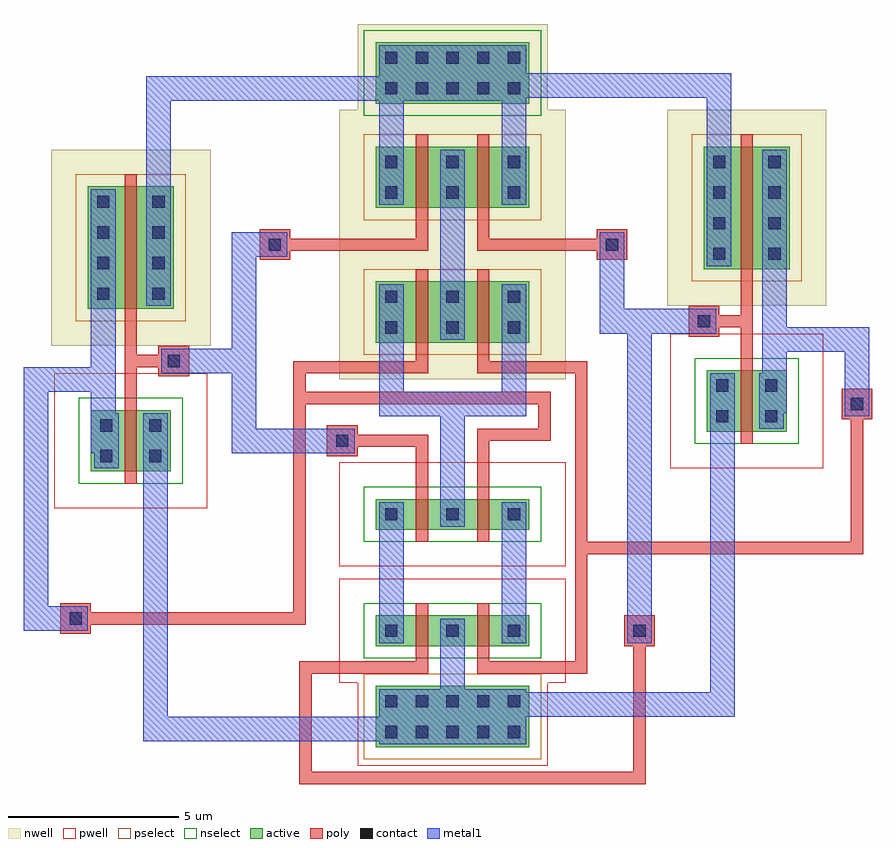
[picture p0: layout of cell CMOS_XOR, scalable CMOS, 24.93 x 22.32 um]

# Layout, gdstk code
from math import pi, radians
import gdstk
lib = gdstk.Library(unit=1e-6, precision=1e-09)
def R(c, l, rs):  # rectangles x0, y0, x1, y1
    for r in rs: c.add(gdstk.rectangle(r[:2], r[2:], *l))
def A(c, l, x, y, w, h, nx, ny, dx, dy):  # array of equal rectangles
    R(c, l, [(x+i*dx, y+j*dy, x+i*dx+w, y+j*dy+h) for i in range(nx) for j in range(ny)])
contact = (25, 0)
pwell = (41, 0)
nwell = (42, 0)
active = (43, 0)
pselect = (44, 0)
nselect = (45, 0)
poly = (46, 0)
metal1 = (49, 0)

inv = lib.new_cell('Inv')
A(inv, contact, -0.99, 0.36, 0.36, 0.36, 1, 4, 0, 0.9)
A(inv, contact, 0.63, 0.36, 0.36, 0.36, 1, 4, 0, 0.9)
R(inv, contact, [(-0.9,-4.41,-0.54,-4.05), (0.54,-4.41,0.9,-4.05), (-0.9,-3.51,-0.54,-3.15), (0.54,-3.51,0.9,-3.15), (-1.44,-1.62,-1.08,-1.26)])
R(inv, pwell, [(-2.25,-5.76,0.81,-1.8), (-1.8,-5.76,1.8,-1.8), (-0.81,-5.76,2.25,-1.8), (-2.07,-5.13,0.675,-2.43), (-0.72,-5.13,2.025,-2.43)])
R(inv, nwell, [(-2.34,-0.99,0.72,4.77), (-1.8,-0.99,1.8,4.77), (-0.72,-0.99,2.34,4.77), (-2.16,0.54,0.675,3.24), (-0.675,0.54,2.07,3.24)])
R(inv, active, [(-1.17,-4.68,-0.27,-2.88), (-0.72,-4.68,0.72,-2.88), (0.27,-4.68,1.17,-2.88), (-0.99,-4.05,-0.405,-3.51), (0.36,-4.05,0.945,-3.51), (-1.26,0.09,-0.36,3.69), (-0.72,0.09,0.72,3.69), (0.36,0.09,1.26,3.69), (-1.08,1.62,-0.405,2.16), (0.405,1.62,0.99,2.16)])
R(inv, pselect, [(-1.62,-0.27,0,4.05), (-1.08,-0.27,1.08,4.05), (0,-0.27,1.62,4.05), (-1.44,1.26,-0.045,2.52), (0.045,1.26,1.35,2.52)])
R(inv, nselect, [(-1.53,-5.04,0.09,-2.52), (-1.08,-5.04,1.08,-2.52), (-0.09,-5.04,1.53,-2.52), (-1.35,-4.41,-0.045,-3.15), (0,-4.41,1.305,-3.15)])
R(inv, poly, [(-0.18,-5.04,0.18,-2.52), (-0.18,-2.7,0.18,-1.26), (-1.71,-1.89,-0.81,-0.99), (-1.53,-1.62,0.18,-1.26), (-0.18,-1.62,0.18,-0.09), (-0.18,-0.27,0.18,4.05)])
R(inv, metal1, [(-1.08,-6.93,-0.36,-3.42), (-1.08,-4.59,-0.36,-2.97), (0.36,-4.59,1.08,-2.97), (0.36,-4.14,1.17,-3.42), (0.45,-4.14,1.17,-1.62), (0.45,-2.34,1.17,2.61), (0.45,-2.34,1.8,-1.62), (-1.8,-1.8,-0.9,-1.08), (-1.62,-1.8,-0.9,-1.08), (-1.17,0.18,-0.45,3.6), (0.45,0.18,1.17,3.6), (-1.17,1.53,-0.45,5.85)])

cmos_xor = lib.new_cell('CMOS_XOR')
A(cmos_xor, contact, -6.12, -9.81, 0.36, 0.36, 5, 2, 0.9, 0.9)
A(cmos_xor, contact, -6.12, -6.84, 0.36, 0.36, 3, 2, 1.8, 3.42)
A(cmos_xor, contact, -6.12, 2.07, 0.36, 0.36, 3, 2, 1.8, 0.9)
A(cmos_xor, contact, -6.12, 6.03, 0.36, 0.36, 3, 2, 1.8, 0.9)
A(cmos_xor, contact, -6.12, 9.09, 0.36, 0.36, 5, 2, 0.9, 0.9)
R(cmos_xor, contact, [(1.17,-6.84,1.53,-6.48), (-15.39,-6.48,-15.03,-6.12), (-7.56,-1.26,-7.2,-0.9), (7.56,-0.18,7.92,0.18), (-9.54,4.5,-9.18,4.86), (0.36,4.5,0.72,4.86)])
A(cmos_xor, pwell, -7.47, -8.19, 3.06, 3.06, 3, 2, 1.8, 3.42)
R(cmos_xor, pwell, [(-6.93,-10.62,-1.35,-7.74), (-6.84,-8.19,-3.24,-5.13), (-5.04,-8.19,-1.44,-5.13), (-7.29,-8.01,-4.365,-5.31), (-5.715,-8.01,-2.79,-5.31), (-5.49,-8.01,-2.565,-5.31), (-3.915,-8.01,-0.99,-5.31), (-6.84,-4.77,-3.24,-1.71), (-5.04,-4.77,-1.44,-1.71), (-7.29,-4.59,-4.365,-1.89), (-5.715,-4.59,-2.79,-1.89), (-5.49,-4.59,-2.565,-1.89), (-3.915,-4.59,-0.99,-1.89)])
A(cmos_xor, nwell, -7.47, 0.72, 3.06, 3.96, 3, 2, 1.8, 3.96)
R(cmos_xor, nwell, [(-6.84,0.72,-3.24,4.68), (-5.04,0.72,-1.44,4.68), (-7.29,1.35,-4.365,4.05), (-5.715,1.35,-2.79,4.05), (-5.49,1.35,-2.565,4.05), (-3.915,1.35,-0.99,4.05), (-6.84,4.68,-3.24,8.64), (-5.04,4.68,-1.44,8.64), (-7.29,5.31,-4.365,8.01), (-5.715,5.31,-2.79,8.01), (-5.49,5.31,-2.565,8.01), (-3.915,5.31,-0.99,8.01), (-6.93,8.28,-1.35,11.16)])
A(cmos_xor, active, -6.39, -7.11, 0.9, 0.9, 3, 2, 1.8, 3.42)
A(cmos_xor, active, -6.39, 1.8, 0.9, 1.8, 3, 2, 1.8, 3.96)
R(cmos_xor, active, [(-6.39,-10.08,-1.89,-8.28), (-5.76,-7.11,-4.32,-6.21), (-3.96,-7.11,-2.52,-6.21), (-6.21,-6.93,-5.445,-6.39), (-4.635,-6.93,-3.87,-6.39), (-4.41,-6.93,-3.645,-6.39), (-2.835,-6.93,-2.07,-6.39), (-5.76,-3.69,-4.32,-2.79), (-3.96,-3.69,-2.52,-2.79), (-6.21,-3.51,-5.445,-2.97), (-4.635,-3.51,-3.87,-2.97), (-4.41,-3.51,-3.645,-2.97), (-2.835,-3.51,-2.07,-2.97), (-5.76,1.8,-4.32,3.6), (-3.96,1.8,-2.52,3.6), (-6.21,2.43,-5.445,2.97), (-4.635,2.43,-3.87,2.97), (-4.41,2.43,-3.645,2.97), (-2.835,2.43,-2.07,2.97), (-5.76,5.76,-4.32,7.56), (-3.96,5.76,-2.52,7.56), (-6.21,6.39,-5.445,6.93), (-4.635,6.39,-3.87,6.93), (-4.41,6.39,-3.645,6.93), (-2.835,6.39,-2.07,6.93), (-6.39,8.82,-1.89,10.62)])
A(cmos_xor, pselect, -6.75, 1.44, 1.62, 2.52, 3, 2, 1.8, 3.96)
R(cmos_xor, pselect, [(-6.75,-10.44,-1.53,-7.92), (-6.12,1.44,-3.96,3.96), (-4.32,1.44,-2.16,3.96), (-6.57,2.07,-5.085,3.33), (-4.995,2.07,-3.51,3.33), (-4.77,2.07,-3.285,3.33), (-3.195,2.07,-1.71,3.33), (-6.12,5.4,-3.96,7.92), (-4.32,5.4,-2.16,7.92), (-6.57,6.03,-5.085,7.29), (-4.995,6.03,-3.51,7.29), (-4.77,6.03,-3.285,7.29), (-3.195,6.03,-1.71,7.29)])
A(cmos_xor, nselect, -6.75, -7.47, 1.62, 1.62, 3, 2, 1.8, 3.42)
R(cmos_xor, nselect, [(-6.12,-7.47,-3.96,-5.85), (-4.32,-7.47,-2.16,-5.85), (-6.57,-7.29,-5.085,-6.03), (-4.995,-7.29,-3.51,-6.03), (-4.77,-7.29,-3.285,-6.03), (-3.195,-7.29,-1.71,-6.03), (-6.12,-4.05,-3.96,-2.43), (-4.32,-4.05,-2.16,-2.43), (-6.57,-3.87,-5.085,-2.61), (-4.995,-3.87,-3.51,-2.61), (-4.77,-3.87,-3.285,-2.61), (-3.195,-3.87,-1.71,-2.61), (-6.75,8.46,-1.53,10.98)])
R(cmos_xor, poly, [(-8.64,-11.16,-8.28,-7.56), (-8.64,-11.16,1.53,-10.8), (1.17,-11.16,1.53,-6.48), (-8.64,-7.92,-4.86,-7.56), (-5.22,-7.92,-4.86,-7.29), (-3.42,-7.92,-0.18,-7.56), (-3.42,-7.92,-3.06,-7.29), (-0.54,-7.92,-0.18,-4.05), (-5.22,-7.47,-4.86,-5.85), (-3.42,-7.47,-3.06,-5.85), (0.9,-7.11,1.8,-6.21), (-15.66,-6.75,-14.76,-5.85), (-15.48,-6.48,-8.46,-6.12), (-8.82,-6.48,-8.46,0.36), (-0.54,-4.41,-0.18,1.26), (-0.54,-4.41,7.92,-4.05), (7.56,-4.41,7.92,0.18), (-5.22,-4.05,-4.86,-2.43), (-3.42,-4.05,-3.06,-2.43), (-5.22,-2.61,-4.86,-0.9), (-3.42,-2.61,-3.06,-0.72), (-7.83,-1.53,-6.93,-0.63), (-7.56,-1.26,-4.86,-0.9), (-3.42,-1.08,-1.26,-0.72), (-1.62,-1.08,-1.26,0.36), (7.29,-0.45,8.19,0.45), (-8.82,0,-8.46,1.26), (-8.82,0,-1.26,0.36), (-8.82,0.9,-4.86,1.26), (-5.22,0.9,-4.86,1.62), (-3.42,0.9,-3.06,1.62), (-3.42,0.9,-0.18,1.26), (-5.22,1.44,-4.86,3.96), (-3.42,1.44,-3.06,3.96), (-9.81,4.23,-8.91,5.13), (0.09,4.23,0.99,5.13), (-9.54,4.5,-4.86,4.86), (-5.22,4.5,-4.86,5.58), (-3.42,4.5,-3.06,5.58), (-3.42,4.5,0.72,4.86), (-5.22,5.4,-4.86,7.92), (-3.42,5.4,-3.06,7.92)])
A(cmos_xor, metal1, -6.3, -7.02, 0.72, 0.72, 3, 2, 1.8, 3.42)
A(cmos_xor, metal1, -6.3, 1.89, 0.72, 1.62, 3, 2, 1.8, 3.96)
R(cmos_xor, metal1, [(-6.3,-9.99,-1.98,-8.37), (-13.23,-9.9,-12.51,-3.51), (-13.23,-9.9,-3.78,-9.18), (-4.5,-9.54,-3.78,-6.3), (-4.5,-9.18,4.14,-8.46), (3.42,-9.18,4.14,-2.34), (-6.3,-7.02,-5.58,-2.88), (-2.7,-7.02,-1.98,-2.88), (0.99,-7.02,1.71,-6.3), (0.99,-7.02,1.71,2.79), (-16.74,-6.66,-16.02,1.08), (-16.74,-6.66,-14.94,-5.94), (-15.66,-6.66,-14.94,-5.94), (-15.57,-6.66,-14.85,-5.94), (-4.5,-3.6,-3.78,0.36), (-10.62,-1.44,-9.9,1.62), (-10.62,-1.44,-7.02,-0.72), (-7.74,-1.44,-7.02,-0.72), (-6.3,-0.36,-5.58,3.06), (-6.3,-0.36,-3.96,0.36), (-4.68,-0.36,-3.78,0.36), (-4.68,-0.36,-1.98,0.36), (-2.7,-0.36,-1.98,3.06), (7.38,-0.36,8.1,0.36), (7.38,-0.36,8.1,2.25), (-16.74,0.36,-14.67,1.08), (-12.51,0.9,-9.9,1.62), (-10.62,0.9,-9.9,1.71), (-10.62,0.99,-9.9,5.04), (5.58,1.53,8.01,2.25), (7.29,1.53,8.1,2.25), (0.18,2.07,0.9,5.04), (0.18,2.07,3.42,2.79), (0.18,2.07,1.71,2.79), (2.7,2.07,3.42,2.79), (-4.5,2.34,-3.78,7.02), (-10.62,4.32,-9,5.04), (-9.72,4.32,-9,5.04), (0.18,4.32,0.9,5.04), (-6.3,6.3,-5.58,10.08), (-2.7,6.3,-1.98,10.08), (-13.14,7.83,-12.42,9.63), (-13.14,8.91,-3.78,9.63), (-6.3,8.91,-1.98,10.53), (-4.5,9,4.05,9.72)])
cmos_xor.add(gdstk.Reference(inv, (-13.59,2.7), rotation=pi, x_reflection=True))
cmos_xor.add(gdstk.Reference(inv, (4.5,3.87)))

lib.write_gds('CMOS_XOR.gds')
